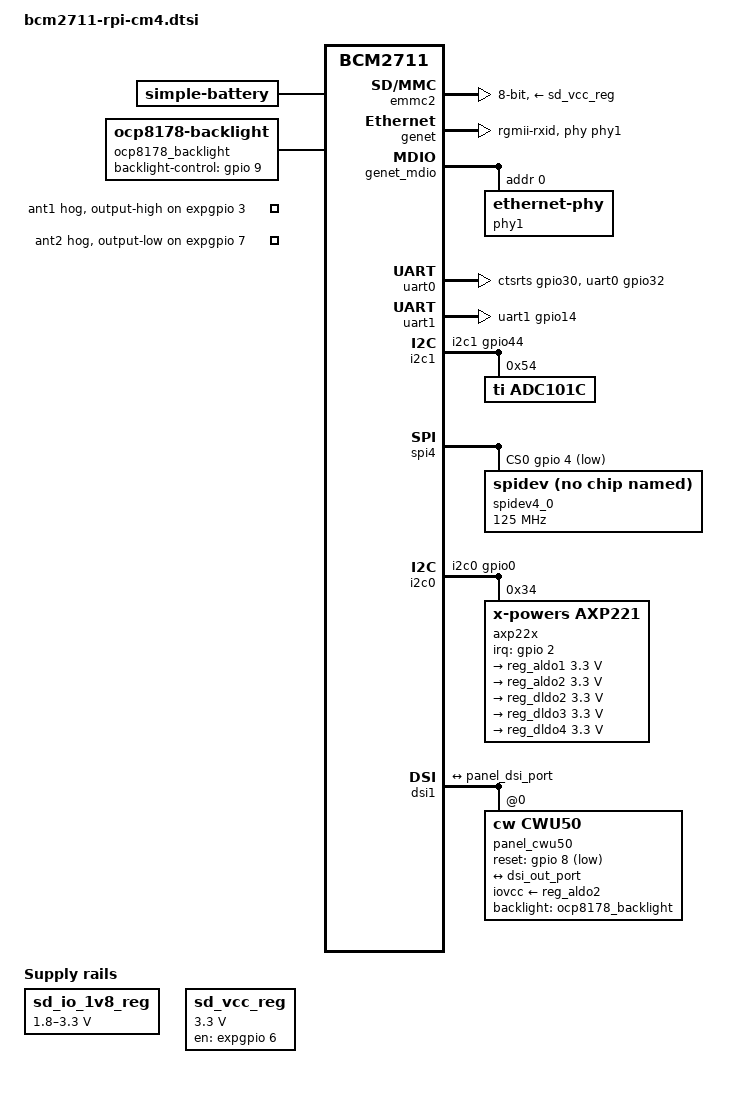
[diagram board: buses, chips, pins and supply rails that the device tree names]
// SPDX-License-Identifier: GPL-2.0
/dts-v1/;
#include "bcm2711.dtsi"
#include "bcm2711-rpi.dtsi"
#include "bcm283x-rpi-wifi-bt.dtsi"

/ {
	compatible = "raspberrypi,4-compute-module", "brcm,bcm2711";

	chosen {
		/* 8250 auxiliary UART instead of pl011 */
		stdout-path = "serial1:115200n8";
		bootargs = "8250.nr_uarts=1";
	};

	sd_io_1v8_reg: regulator-sd-io-1v8 {
		compatible = "regulator-gpio";
		regulator-name = "vdd-sd-io";
		regulator-min-microvolt = <1800000>;
		regulator-max-microvolt = <3300000>;
		regulator-boot-on;
		regulator-always-on;
		regulator-settling-time-us = <5000>;
		gpios = <&expgpio 4 GPIO_ACTIVE_HIGH>;
		states = <1800000 0x1>,
			 <3300000 0x0>;
		status = "okay";
	};

	sd_vcc_reg: regulator-sd-vcc {
		compatible = "regulator-fixed";
		regulator-name = "vcc-sd";
		regulator-min-microvolt = <3300000>;
		regulator-max-microvolt = <3300000>;
		regulator-boot-on;
		enable-active-high;
		gpio = <&expgpio 6 GPIO_ACTIVE_HIGH>;
	};
};

&bt {
	shutdown-gpios = <&expgpio 0 GPIO_ACTIVE_HIGH>;
};

/* EMMC2 is used to drive the eMMC */
&emmc2 {
	bus-width = <8>;
	vqmmc-supply = <&sd_io_1v8_reg>;
	vmmc-supply = <&sd_vcc_reg>;
	broken-cd;
	/* Even the IP block is limited to 100 MHz
	 * this provides a throughput gain
	 */
	mmc-hs200-1_8v;
	status = "okay";
};

&expgpio {
	gpio-line-names = "BT_ON",
			  "WL_ON",
			  "PWR_LED_OFF",
			  "ANT1",
			  "VDD_SD_IO_SEL",
			  "CAM_GPIO",
			  "SD_PWR_ON",
			  "ANT2";

	ant1: ant1-hog {
		gpio-hog;
		gpios = <3 GPIO_ACTIVE_HIGH>;
		/* internal antenna enabled */
		output-high;
		line-name = "ant1";
	};

	ant2: ant2-hog {
		gpio-hog;
		gpios = <7 GPIO_ACTIVE_HIGH>;
		/* external antenna disabled */
		output-low;
		line-name = "ant2";
	};
};

&genet {
	phy-handle = <&phy1>;
	phy-mode = "rgmii-rxid";
	status = "okay";
};

&genet_mdio {
	phy1: ethernet-phy@0 {
		/* No PHY interrupt */
		reg = <0x0>;
	};
};

/* uart0 communicates with the BT module */
&uart0 {
	pinctrl-names = "default";
	pinctrl-0 = <&uart0_ctsrts_gpio30 &uart0_gpio32>;
	uart-has-rtscts;
};

/* uart1 is mapped to the pin header */
&uart1 {
	pinctrl-names = "default";
	pinctrl-0 = <&uart1_gpio14>;
	status = "okay";
};

&wifi_pwrseq {
	reset-gpios = <&expgpio 1 GPIO_ACTIVE_LOW>;
};


/ {
    battery: battery@0 {
        compatible = "simple-battery";
        device-chemistry = "lithium-ion";
        constant-charge-current-max-microamp = <2100000>;
        voltage-max-design-microvolt = <4200000>;
        re-charge-voltage-microvolt = <4000000>;
        voltage-min-design-microvolt = <3300000>;
        energy-full-design-microwatt-hours = <24790000>;
        charge-full-design-microamp-hours = <6700000>;
    };

    ocp8178_backlight: backlight@0 {
        compatible = "ocp8178-backlight";
        backlight-control-gpios = <&gpio 9 0>;
        default-brightness = <5>;
    };
};


&i2c1 {
    #address-cells = <1>;
    #size-cells = <0>;
    pinctrl-names = "default";
    pinctrl-0 = <&i2c1_gpio44>;
    status = "okay";

    adc101c: adc@54 {
        reg = <0x54>;
        compatible = "ti,adc101c";
        status = "okay";
    };
};

&spi4 {
    pinctrl-names = "default";
    pinctrl-0 = <&spi4_pins>;
    cs-gpios = <&gpio 4 1>;
    status = "okay";

    spidev4_0: spidev@0 {
        compatible = "spidev";
        reg = <0>;    /* CE0 */
        #address-cells = <1>;
        #size-cells = <0>;
        spi-max-frequency = <125000000>;
        status = "okay";
    };
};

&gpio {

	spi4_pins: spi4_pins {
		brcm,pins = <6 7>;
		brcm,function = <7>;
	};
};

&i2c0 {
    #address-cells = <1>;
    #size-cells = <0>;
    pinctrl-0 = <&i2c0_gpio0>;
    pinctrl-names = "default";
    status = "okay";
    compatible = "brcm,bcm2708-i2c";

    axp22x: pmic@34 {
        interrupt-controller;
        #interrupt-cells = <1>;
        compatible = "x-powers,axp221";
        reg = <0x34>; /* i2c address */
        interrupt-parent = <&gpio>;
        interrupts = <2 8>;  /* IRQ_TYPE_EDGE_FALLING */
        irq-gpios = <&gpio 2 0>;

        regulators {
            x-powers,dcdc-freq = <3000>;
            reg_aldo1: aldo1 {
                regulator-always-on;
                regulator-min-microvolt = <3300000>;
                regulator-max-microvolt = <3300000>;
                regulator-name = "audio-vdd";
            };
            reg_aldo2: aldo2 {
                regulator-always-on;
                regulator-min-microvolt = <3300000>;
                regulator-max-microvolt = <3300000>;
                regulator-name = "display-vcc";
            };
            reg_dldo2: dldo2 {
                regulator-always-on;
                regulator-min-microvolt = <3300000>;
                regulator-max-microvolt = <3300000>;
                regulator-name = "dldo2";
            };
            reg_dldo3: dldo3 {
                regulator-always-on;
                regulator-min-microvolt = <3300000>;
                regulator-max-microvolt = <3300000>;
                regulator-name = "dldo3";
            };
            reg_dldo4: dldo4 {
                regulator-always-on;
                regulator-min-microvolt = <3300000>;
                regulator-max-microvolt = <3300000>;
                regulator-name = "dldo4";
            };
        };

        battery_power_supply: battery-power-supply {
            compatible = "x-powers,axp221-battery-power-supply";
            monitored-battery = <&battery>;
        };

        ac_power_supply: ac_power-supply {
            compatible = "x-powers,axp221-ac-power-supply";
        };
    };
};

&dsi1 {
    #address-cells = <1>;
    #size-cells = <0>;
    status = "okay";

    port {
        dsi_out_port: endpoint {
            remote-endpoint = <&panel_dsi_port>;
        };
    };

    panel_cwu50: panel@0 {
        compatible = "cw,cwu50";
        reg = <0>;
        reset-gpio = <&gpio 8 1>;
        backlight = <&ocp8178_backlight>;
        rotation = <90>;
        iovcc-supply = <&reg_aldo2>;

        port {
            panel_dsi_port: endpoint {
                remote-endpoint = <&dsi_out_port>;
            };
        };
    };
};
